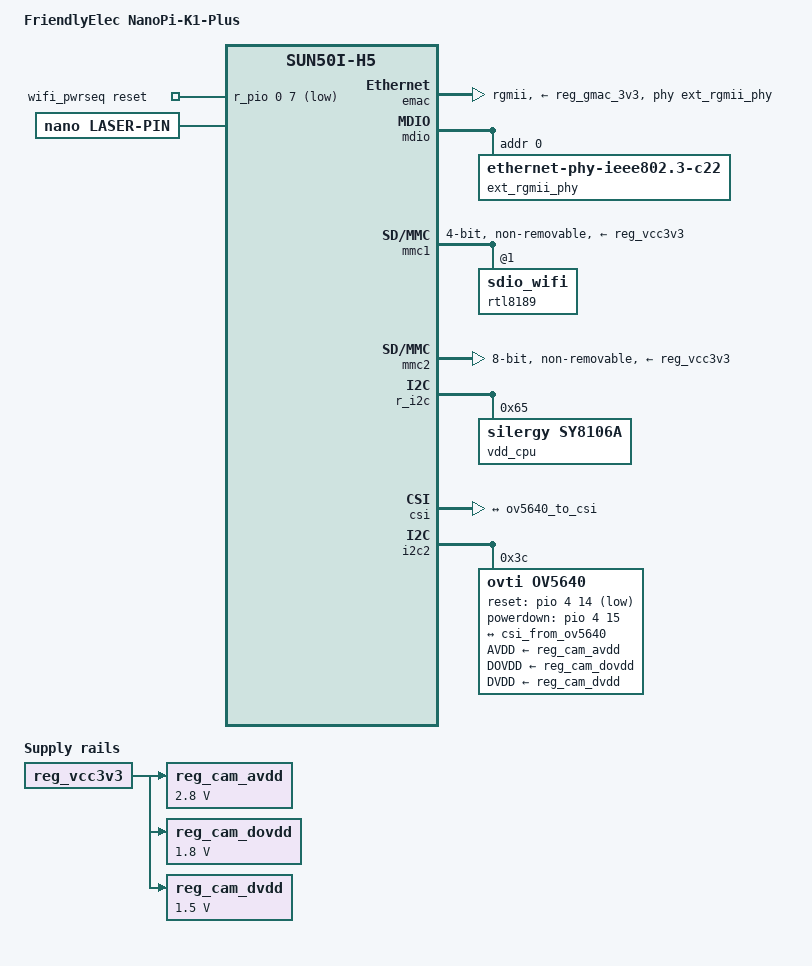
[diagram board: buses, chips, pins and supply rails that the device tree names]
#include "sun50i-h5-nanopi.dtsi"

/ {
	model = "FriendlyElec NanoPi-K1-Plus";
	compatible = "friendlyelec,nanopi-k1-plus", "allwinner,sun50i-h5";

	wifi_pwrseq: wifi_pwrseq {
		compatible = "mmc-pwrseq-simple";
		pinctrl-names = "default";
		pinctrl-0 = <&wifi_en_npi>;
		reset-gpios = <&r_pio 0 7 GPIO_ACTIVE_LOW>; /* PL7 */
		post-power-on-delay-ms = <200>;
	};

	cam_xclk: cam-xclk {
		#clock-cells = <0>;
		compatible = "fixed-clock";
		clock-frequency = <24000000>;
		clock-output-names = "cam-xclk";
	};

	reg_cam_avdd: cam-avdd {
		compatible = "regulator-fixed";
		regulator-name = "cam500b-avdd";
		regulator-min-microvolt = <2800000>;
		regulator-max-microvolt = <2800000>;
		vin-supply = <&reg_vcc3v3>;
	};

	reg_cam_dovdd: cam-dovdd {
		compatible = "regulator-fixed";
		regulator-name = "cam500b-dovdd";
		regulator-min-microvolt = <1800000>;
		regulator-max-microvolt = <1800000>;
		vin-supply = <&reg_vcc3v3>;
	};

	reg_cam_dvdd: cam-dvdd {
		compatible = "regulator-fixed";
		regulator-name = "cam500b-dvdd";
		regulator-min-microvolt = <1500000>;
		regulator-max-microvolt = <1500000>;
		vin-supply = <&reg_vcc3v3>;
	};
    /*--- 2018-11-09 --- add gpio output pin PA_09 ------*/	
	laser {
		compatible = "nano, laser-pin", "nano, laserflash-pin";
		pinctrl-names = "gpio_laser";
		pinctrl-0 = <&laser_ctrl_pin>;
        status{
            label = "nanopi:laser:status";
            gpios = <&pio 0 9 GPIO_ACTIVE_HIGH>;
            default-status = "on";
        };
	};
};
&pio {
    laser_ctrl_pin: laser_pin@0 {
        pins = "PA9";
        function = "gpio_out";
    };
};
/*----------------- add end ---------------------------*/

&cpu0 {
	operating-points = <
		/* kHz	  uV */
		1368000 1400000
		1344000 1400000
		1296000 1340000
		1248000 1280000
		1224000 1260000
		1200000 1240000
		1152000 1200000
		1104000 1170000
		1080000 1160000
		1056000 1150000
		1008000 1100000
		960000  1080000
		936000  1060000
		912000  1050000
		864000  1040000
		816000  1000000
		792000  1000000
		768000  980000
		720000  970000
		672000  970000
		648000  970000
		528000  940000
		480000  940000
		240000  940000
		120000  940000
		>;
	#cooling-cells = <2>;
	cooling-min-level = <0>;
	cooling-max-level = <24>;
	cpu0-supply = <&vdd_cpu>;
};

&cpu_thermal {
	trips {
		cpu_warm: cpu_warm {
			temperature = <65000>;
			hysteresis = <2000>;
			type = "passive";
		};
		cpu_hot: cpu_hot {
			temperature = <75000>;
			hysteresis = <2000>;
			type = "passive";
		};
		cpu_very_hot: cpu_very_hot {
			temperature = <90000>;
			hysteresis = <2000>;
			type = "passive";
		};
		cpu_crit: cpu_crit {
			temperature = <105000>;
			hysteresis = <2000>;
			type = "critical";
		};
	};

	cooling-maps {
		cpu_warm_limit_cpu {
			trip = <&cpu_warm>;
			cooling-device = <&cpu0 THERMAL_NO_LIMIT THERMAL_NO_LIMIT>;
		};
		cpu_hot_limit_cpu {
			trip = <&cpu_hot>;
			cooling-device = <&cpu0 THERMAL_NO_LIMIT THERMAL_NO_LIMIT>;
		};
		cpu_very_hot_limit_cpu {
			trip = <&cpu_very_hot>;
			cooling-device = <&cpu0 18 THERMAL_NO_LIMIT>; /* Limit cpu speed above 90C to 720MHz */
		};
	};
};

&emac {
	pinctrl-names = "default";
	pinctrl-0 = <&emac_rgmii_pins>;
	phy-supply = <&reg_gmac_3v3>;
	phy-handle = <&ext_rgmii_phy>;
	phy-mode = "rgmii";
	allwinner,leds-active-low;
	status = "okay";
};

&mdio {
	ext_rgmii_phy: ethernet-phy@1 {
		compatible = "ethernet-phy-ieee802.3-c22";
		reg = <0>;
	};
};

&mmc1 {
	pinctrl-names = "default";
	pinctrl-0 = <&mmc1_pins_a>;
	vmmc-supply = <&reg_vcc3v3>;
	vqmmc-supply = <&reg_vcc3v3>;
	mmc-pwrseq = <&wifi_pwrseq>;
	bus-width = <4>;
	non-removable;
	status = "okay";

    /*
     * Explicitly define the sdio device, so that we can add an ethernet
     * alias for it (which e.g. makes u-boot set a mac-address).
     */
    rtl8189: sdio_wifi@1 {
        reg = <1>;
    };
};

&mmc2 {
	pinctrl-names = "default";
	pinctrl-0 = <&mmc2_8bit_pins>;
	vmmc-supply = <&reg_vcc3v3>;
	bus-width = <8>;
	non-removable;
	cap-mmc-hw-reset;
	status = "okay";
};

&mmc2_8bit_pins {
	/* Increase drive strength for DDR modes */
	drive-strength = <40>;
	/* eMMC is missing pull-ups */
	bias-pull-up;
};

&r_pio {
	wifi_en_npi: wifi_en_pin {
		pins = "PL7";
		function = "gpio_out";
    };
};

&r_i2c {
	status = "okay";

	vdd_cpu: regulator@65 {
		compatible = "silergy,sy8106a";
		reg = <0x65>;
		regulator-min-microvolt = <940000>;
		regulator-max-microvolt = <1400000>;
		regulator-ramp-delay = <200>;
		regulator-boot-on;
		regulator-always-on;
	};
};

&csi {
    status = "okay";

    port {
        #address-cells = <1>;
        #size-cells = <0>;

        /* Parallel bus endpoint */
        csi_from_ov5640: endpoint {
            remote-endpoint = <&ov5640_to_csi>;
            bus-width = <8>;
            data-shift = <2>;
            hsync-active = <1>; /* Active high */
            vsync-active = <0>; /* Active low */
            data-active = <1>;  /* Active high */
            pclk-sample = <1>;  /* Rising */
        };
    };
};

&i2c2 {
   status = "okay";

   ov5640: camera@3c {
        compatible = "ovti,ov5640";
        reg = <0x3c>;
        clocks = <&cam_xclk>;
        clock-names = "xclk";

        reset-gpios = <&pio 4 14 GPIO_ACTIVE_LOW>;
        powerdown-gpios = <&pio 4 15 GPIO_ACTIVE_HIGH>;
        AVDD-supply = <&reg_cam_avdd>;
        DOVDD-supply = <&reg_cam_dovdd>;
        DVDD-supply = <&reg_cam_dvdd>;

        port {
            ov5640_to_csi: endpoint {
                remote-endpoint = <&csi_from_ov5640>;
                bus-width = <8>;
                data-shift = <2>;
                hsync-active = <1>; /* Active high */
                vsync-active = <0>; /* Active low */
                data-active = <1>;  /* Active high */
                pclk-sample = <1>;  /* Rising */
            };
        };
    };
};

&i2c2_pins {
   bias-pull-up;
};

